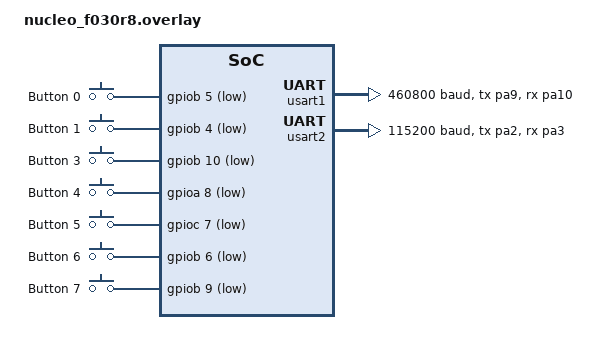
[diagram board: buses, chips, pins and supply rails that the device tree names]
&usart1{
	pinctrl-0 = <&usart1_tx_pa9 &usart1_rx_pa10>;
	pinctrl-names = "default";
	current-speed = <460800>;
	status = "okay";
};

&usart2{
	pinctrl-0 = <&usart2_tx_pa2 &usart2_rx_pa3>;
	pinctrl-names = "default";
	current-speed = <115200>;
	status = "okay";
};

/ {
	aliases {
	usart = &usart1;
	sw1 = &button0;
	sw2 = &button1;
	sw3 = &button2;
	sw4 = &button3;
	sw5 = &button4;
	sw6 = &button5;
	sw7 = &button6;
	};

	buttons {
        compatible = "gpio-keys";
        button0: button_0 {
            gpios = <&gpiob 5 (GPIO_ACTIVE_LOW | GPIO_PULL_UP)>;// Example of using GPIO_ACTIVE_LOW flag
            label = "Button 0";//select down
        };

        button1: button_1 {
            gpios = <&gpiob 4 (GPIO_ACTIVE_LOW | GPIO_PULL_UP)>;// Example of using GPIO_ACTIVE_LOW flag
            label = "Button 1";//select left
        };
        button2: button_2 {
            gpios = <&gpiob 10 (GPIO_ACTIVE_LOW | GPIO_PULL_UP)>;// Example of using GPIO_ACTIVE_LOW flag
            label = "Button 3";// select up
        };
        button3: button_3 {
            gpios = <&gpioa 8 (GPIO_ACTIVE_LOW | GPIO_PULL_UP)>;// Example of using GPIO_ACTIVE_LOW flag
            label = "Button 4";//select right
        };
        button4: button_4 {
            gpios = <&gpioc 7 (GPIO_ACTIVE_LOW | GPIO_PULL_UP)>;// Example of using GPIO_ACTIVE_LOW flag
            label = "Button 5";//shop left
        };
        button5: button_5 {
            gpios = <&gpiob 6 (GPIO_ACTIVE_LOW | GPIO_PULL_UP)>;// Example of using GPIO_ACTIVE_LOW flag
            label = "Button 6";//shop comfirm
        };
        button6: button_6 {
            gpios = <&gpiob 9 (GPIO_ACTIVE_LOW | GPIO_PULL_UP)>;// Example of using GPIO_ACTIVE_LOW flag
            label = "Button 7";//shop right
        };
    };
};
